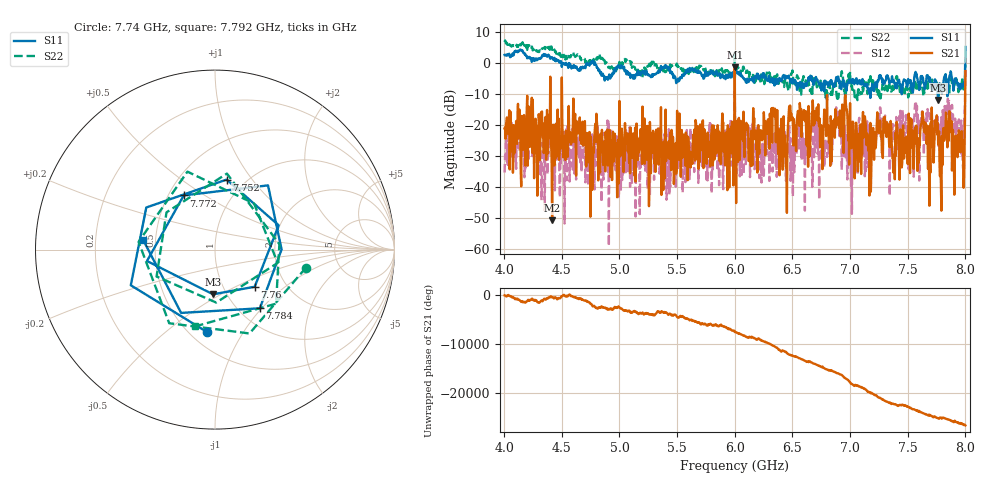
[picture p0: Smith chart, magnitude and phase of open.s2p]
# Hz S RI R 50
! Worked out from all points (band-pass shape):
!   1000 points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, 4.004 GHz to 8 GHz, reference 50 ohm
!   highest |S21| = -1.53 dB at 6 GHz (marker M1); lowest = -50.8 dB at 4.416 GHz (marker M2)
!   |S21| within 3 dB of the highest: 4.399998 GHz to 4.400002 GHz (4.241 kHz wide, 9.64e-05 % of centre); 5.999569 GHz to 6.000324 GHz (755.6 kHz wide, 0.0126 % of centre) (the widest 2 of 3)
!   lowest |S11| = -12.1 dB at 7.764 GHz (marker M3), VSWR 1.66, Z = 43.3 - j23 ohm
!   |S11| at or under -10 dB: 7.173742 GHz to 7.177785 GHz (4.043 MHz wide, 0.0563 % of centre); 7.447766 GHz to 7.448542 GHz (776.1 kHz wide, 0.0104 % of centre); 7.759241 GHz to 7.766199 GHz (6.957 MHz wide, 0.0896 % of centre) (the widest 3 of 4)
!   |S22| runs from -12.1 to 7.2 dB; largest |S21 - S12| = 1.4
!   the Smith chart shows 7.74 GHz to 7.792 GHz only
!   S11 on the Smith chart (normalised r, x): 7.74 GHz: 0.61, -0.71; 7.752 GHz: 0.82, +0.76; 7.76 GHz: 1.40, -0.64; 7.772 GHz: 0.60, +0.41; 7.784 GHz: 1.24, -0.98; 7.792 GHz: 0.43, +0.05
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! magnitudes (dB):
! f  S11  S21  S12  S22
! 4.004 GHz  2.5  -21.2  -35.5  6.6
! 4.416 GHz  1.7  -50.8  -34.3  4.1
! 4.672 GHz  -1.8  -26.2  -35.4  1.2
! 4.756 GHz  -0.1  -29.0  -32.6  0.8
! 4.792 GHz  -0.6  -19.7  -27.8  0.9
! 5.336 GHz  -2.6  -21.2  -31.7  -2.6
! 6 GHz  -5.3  -1.5  -8.2  3.6
! 6.004 GHz  -3.0  -38.5  -24.1  -3.3
! 6.668 GHz  -4.4  -16.2  -27.9  -9.2
! 6.884 GHz  -5.7  -19.8  -18.6  -10.8
! 7.024 GHz  -5.3  -19.0  -26.3  -8.4
! 7.336 GHz  -5.5  -23.7  -18.9  -7.3
! 7.74 GHz  -6.7  -20.9  -18.4  -5.7
! 7.752 GHz  -8.1  -17.0  -20.1  -7.4
! 7.76 GHz  -10.4  -19.5  -17.5  -9.5
! 7.764 GHz  -12.1  -26.4  -22.1  -8.9
! 7.772 GHz  -9.2  -22.2  -19.9  -8.9
! 7.784 GHz  -7.7  -28.5  -28.7  -8.9
! 7.792 GHz  -7.9  -47.7  -17.5  -7.1
! 7.848 GHz  -9.5  -19.2  -11.6  -7.9
! 7.972 GHz  -7.7  -27.4  -19.8  -5.4
! 8 GHz  5.1  -2.7  1.7  -0.5
